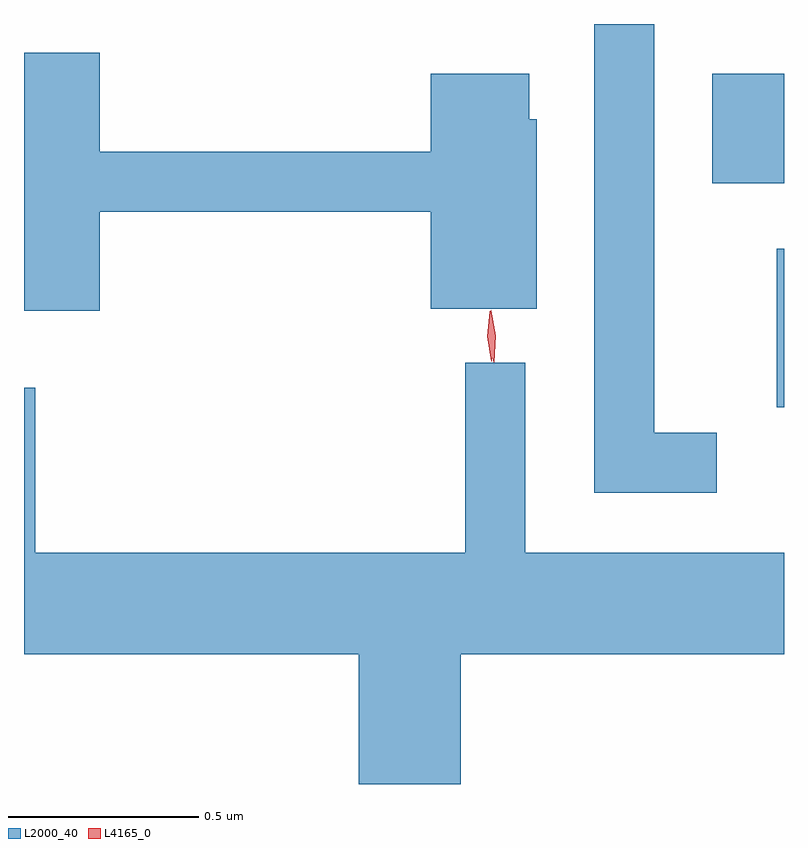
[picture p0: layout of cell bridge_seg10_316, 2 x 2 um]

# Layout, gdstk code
import gdstk
lib = gdstk.Library(unit=1e-6, precision=1e-09)
def R(c, l, rs):  # rectangles x0, y0, x1, y1
    for r in rs: c.add(gdstk.rectangle(r[:2], r[2:], *l))
def P(c, l, *ps):  # polygons
    for p in ps: c.add(gdstk.Polygon(p, *l))
L2000_40 = (2000, 40)
L4165_0 = (4165, 0)

bridge_seg10_316 = lib.new_cell('bridge_seg10_316')
R(bridge_seg10_316, L2000_40, [(1454.936,2181.166,1454.955,2181.583), (1454.766,2181.756,1454.955,2182.044)])
P(bridge_seg10_316, L2000_40, [(1454.778,2181.099),(1454.614,2181.099),(1454.614,2182.175),(1454.456,2182.175),(1454.456,2180.941),(1454.778,2180.941)],
  [(1453.154,2181.681),(1454.026,2181.681),(1454.026,2181.426),(1454.304,2181.426),(1454.304,2181.924),(1454.284,2181.924),(1454.284,2182.044),(1454.026,2182.044),(1454.026,2181.839),(1453.154,2181.839),(1453.154,2182.099),(1452.955,2182.099),(1452.955,2181.421),(1453.154,2181.421)],
  [(1454.104,2180.516),(1454.955,2180.516),(1454.955,2180.784),(1454.274,2180.784),(1454.274,2181.283),(1454.116,2181.283),(1454.116,2180.784),(1452.984,2180.784),(1452.984,2181.218),(1452.955,2181.218),(1452.955,2180.516),(1453.836,2180.516),(1453.836,2180.175),(1454.104,2180.175)])
P(bridge_seg10_316, L4165_0, [(1454.191,2181.285),(1454.191,2181.285),(1454.177,2181.353),(1454.183,2181.421),(1454.184,2181.422),(1454.184,2181.421),(1454.197,2181.354),(1454.192,2181.285)],
  [(1454.185,2181.288),(1454.174,2181.353),(1454.181,2181.419),(1454.182,2181.419),(1454.182,2181.419),(1454.194,2181.354),(1454.186,2181.288),(1454.186,2181.288)])

lib.write_gds('bridge_seg10_316.gds')
